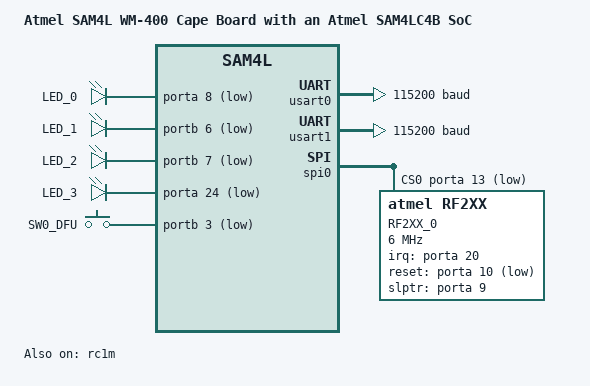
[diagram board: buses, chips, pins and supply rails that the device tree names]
/*
 * Copyright (c) 2019 Gerson Fernando Budke
 * SPDX-License-Identifier: Apache-2.0
 */

/dts-v1/;

#include <atmel/sam4lc4b.dtsi>

/ {
	model = "Atmel SAM4L WM-400 Cape Board with an Atmel SAM4LC4B SoC";
	compatible = "peregrine,sam4l_wm400_cape", "atmel,sam4lc4b", "atmel,sam4l";

	aliases {
		led0 = &red_mod_led;
		led1 = &green_mod_led;
		led2 = &blue_mod_led;
		led3 = &red_cape_led;
		sw0 = &sw0_dfu;
	};

	chosen {
		zephyr,console = &usart0;
		zephyr,shell-uart = &usart0;
		zephyr,sram = &sram0;
		zephyr,flash = &flash0;
		zephyr,code-partition= &code_partition;
	};

	leds {
		compatible = "gpio-leds";
		red_mod_led: led_0 {
			gpios = <&porta 8 GPIO_ACTIVE_LOW>;
			label = "LED_0";
		};
		green_mod_led: led_1 {
			gpios = <&portb 6 GPIO_ACTIVE_LOW>;
			label = "LED_1";
		};
		blue_mod_led: led_2 {
			gpios = <&portb 7 GPIO_ACTIVE_LOW>;
			label = "LED_2";
		};
		red_cape_led: led_3 {
			gpios = <&porta 24 GPIO_ACTIVE_LOW>;
			label = "LED_3";
		};
	};

	gpio_keys {
		compatible = "gpio-keys";

		sw0_dfu: button_1 {
			label = "SW0_DFU";
			gpios = <&portb 3 (GPIO_ACTIVE_LOW)>;
		};
	};
};

&refclk {
	status = "okay";
};

&pllclk {
	status = "okay";
};

&rc1m {
	status = "okay";
};

&usart0 {
	current-speed = <115200>;
	status = "okay";
};

&usart1 {
	current-speed = <115200>;
	status = "okay";
};

&spi0 {
        status = "okay";
        label = "SPI_RF2XX";
        cs-gpios = <&porta 13 (GPIO_PULL_UP | GPIO_ACTIVE_LOW)>;

        rf2xx@0 {
                compatible = "atmel,rf2xx";
                reg = <0x0>;
                label = "RF2XX_0";
                spi-max-frequency = <6000000>;
                irq-gpios = <&porta 20 (GPIO_PULL_DOWN | GPIO_ACTIVE_HIGH)>;
                reset-gpios = <&porta 10 GPIO_ACTIVE_LOW>;
                slptr-gpios = <&porta 9 GPIO_ACTIVE_HIGH>;
                status = "okay";
        };
};

&flash0 {
	partitions {
		compatible = "fixed-partitions";
		#address-cells = <1>;
		#size-cells = <1>;

		boot_partition: partition@0 {
			label = "sam-ba";
			reg = <0x000000000 0x00004000>;
		};
		code_partition: partition@4000 {
			label = "image";
			reg = <0x00004000 0x0003c000>;
		};
	};
};
